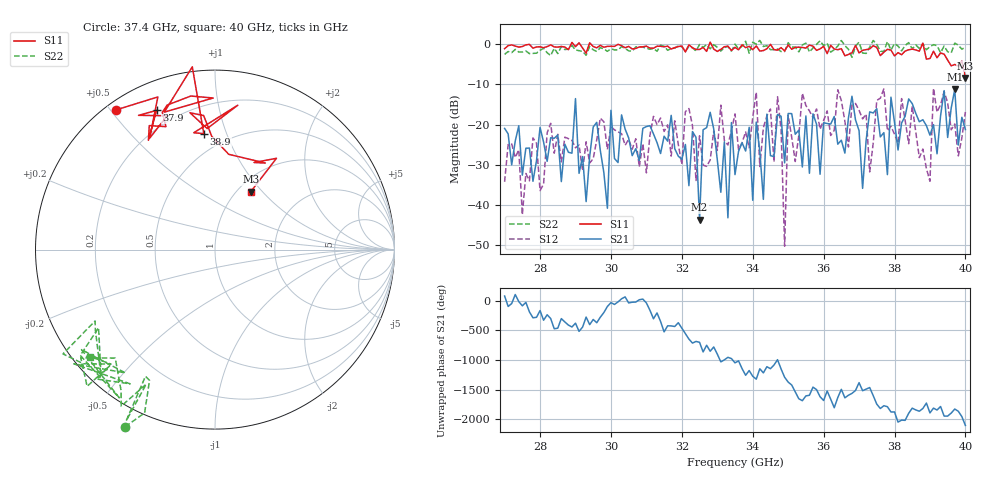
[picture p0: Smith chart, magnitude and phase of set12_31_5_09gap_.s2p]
! Quiescent point : V1=+6.48933E-04 I1=+8.57900E-05 V2=-2.51285E-02 I2=+2.43545E-07
! Pulsed point : V1=+1.73007E-03 I1=+7.91896E-05 V2=-2.56923E-02 I2=+2.00987E-06
! Period : +2.00000E-04
! Input Supply timing : delay=+1.60000E-06 width=+2.20000E-06
! Output Supply timing : delay=+1.70000E-06 width=+2.00000E-06
! VNA timing : delay=+2.40000E-06 width=+1.10000E-06
# Hz S RI R 50
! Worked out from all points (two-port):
!   131 points, 27 GHz to 40 GHz, reference 50 ohm
!   highest |S21| = -11.25 dB at 39.7 GHz (marker M1); lowest = -43.6 dB at 32.5 GHz (marker M2)
!   |S21| within 3 dB of the highest: 28.99476 GHz to 29.00383 GHz (9.074 MHz wide, 0.0313 % of centre); 36.77598 GHz to 36.8221 GHz (46.11 MHz wide, 0.125 % of centre)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
!   lowest |S11| = -8.4 dB at 40 GHz (marker M3), VSWR 2.22, Z = 57.4 + j43.2 ohm
!   |S11| at or under -10 dB: nowhere
!   |S22| runs from -3.3 to 0.9 dB; largest |S21 - S12| = 0.38
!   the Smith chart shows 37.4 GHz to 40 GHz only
!   S11 on the Smith chart (normalised r, x): 37.4 GHz: 0.03, +0.52; 37.9 GHz: 0.12, +0.66; 38.9 GHz: 0.37, +0.84; 40 GHz: 1.15, +0.86
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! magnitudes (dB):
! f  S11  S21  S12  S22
! 27 GHz  -1.1  -20.9  -34.2  -2.6
! 29.2 GHz  -1.0  -27.9  -31.5  -1.8
! 31.4 GHz  -0.6  -27.2  -18.4  -0.3
! 32.4 GHz  -1.4  -23.2  -33.9  -1.7
! 32.5 GHz  -1.3  -43.6  -22.8  -0.1
! 32.8 GHz  0.5  -16.9  -28.8  -1.2
! 33.5 GHz  -0.8  -32.4  -17.4  0.0
! 34.1 GHz  -0.5  -19.4  -12.0  0.0
! 34.3 GHz  -1.6  -38.6  -20.8  -0.6
! 34.7 GHz  -1.5  -17.5  -13.1  -1.3
! 34.9 GHz  -1.7  -29.5  -50.2  -1.8
! 35 GHz  -0.2  -17.2  -17.7  0.4
! 35.7 GHz  -0.5  -17.3  -18.3  -1.0
! 36.8 GHz  -2.2  -13.0  -15.1  -3.3
! 37.1 GHz  -1.6  -35.8  -18.6  -2.2
! 37.4 GHz  -0.4  -17.1  -24.6  0.9
! 37.8 GHz  -1.3  -32.4  -21.5  0.6
! 37.9 GHz  -1.5  -13.2  -20.4  -1.5
! 38.9 GHz  -3.8  -20.3  -30.9  -1.4
! 39.1 GHz  -1.8  -20.0  -11.0  -0.1
! 39.7 GHz  -5.1  -11.3  -19.8  0.2
! 40 GHz  -8.4  -21.2  -16.9  -0.8
